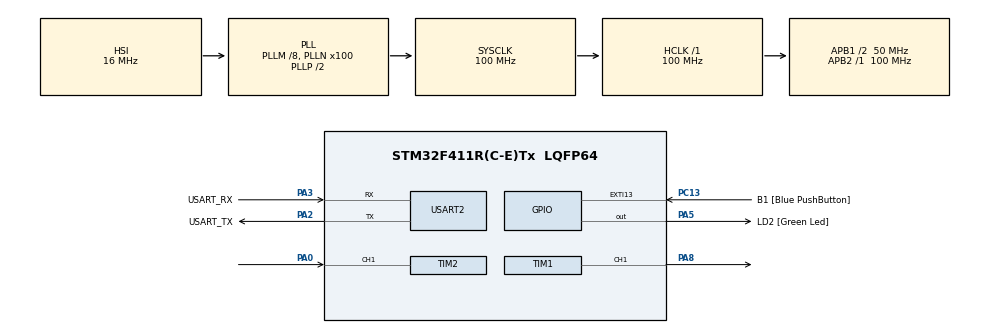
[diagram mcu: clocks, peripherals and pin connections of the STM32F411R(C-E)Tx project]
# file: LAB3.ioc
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Dma.Request0=TIM2_CH1
Dma.TIM2_CH1.0.Direction=DMA_PERIPH_TO_MEMORY
Dma.TIM2_CH1.0.FIFOMode=DMA_FIFOMODE_DISABLE
Dma.TIM2_CH1.0.Instance=DMA1_Stream5
Dma.TIM2_CH1.0.MemDataAlignment=DMA_MDATAALIGN_WORD
Dma.TIM2_CH1.0.MemInc=DMA_MINC_ENABLE
Dma.TIM2_CH1.0.Mode=DMA_CIRCULAR
Dma.TIM2_CH1.0.PeriphDataAlignment=DMA_PDATAALIGN_WORD
Dma.TIM2_CH1.0.PeriphInc=DMA_PINC_DISABLE
Dma.TIM2_CH1.0.Priority=DMA_PRIORITY_LOW
Mcu.Family=STM32F4
Mcu.Name=STM32F411R(C-E)Tx
Mcu.Package=LQFP64
NVIC.DMA1_Stream5_IRQn=true\:0\:0\:false\:false\:true\:false\:true\:true
NVIC.PriorityGroup=NVIC_PRIORITYGROUP_0
PA0-WKUP.Signal=S_TIM2_CH1_ETR
PA13.GPIO_Label=TMS
PA13.Mode=Serial_Wire
PA13.Signal=SYS_JTMS-SWDIO
PA14.GPIO_Label=TCK
PA14.Mode=Serial_Wire
PA14.Signal=SYS_JTCK-SWCLK
PA2.GPIO_Label=USART_TX
PA2.Mode=Asynchronous
PA2.Signal=USART2_TX
PA3.GPIO_Label=USART_RX
PA3.Mode=Asynchronous
PA3.Signal=USART2_RX
PA5.GPIO_Label=LD2 [Green Led]
PA5.Signal=GPIO_Output
PA8.Signal=S_TIM1_CH1
PB3.GPIO_Label=SWO
PB3.Signal=SYS_JTDO-SWO
PC13-ANTI_TAMP.GPIO_Label=B1 [Blue PushButton]
PC13-ANTI_TAMP.GPIO_ModeDefaultEXTI=GPIO_MODE_IT_FALLING
PC13-ANTI_TAMP.Signal=GPXTI13
PC14-OSC32_IN.Mode=LSE-External-Oscillator
PC14-OSC32_IN.Signal=RCC_OSC32_IN
PC15-OSC32_OUT.Mode=LSE-External-Oscillator
PC15-OSC32_OUT.Signal=RCC_OSC32_OUT
PH0\ -\ OSC_IN.Mode=HSE-External-Clock-Source
PH0\ -\ OSC_IN.Signal=RCC_OSC_IN
PH1\ -\ OSC_OUT.Mode=HSE-External-Clock-Source
PH1\ -\ OSC_OUT.Signal=RCC_OSC_OUT
ProjectManager.HeapSize=0x200
ProjectManager.StackSize=0x400
ProjectManager.TargetToolchain=STM32CubeIDE
RCC.48MHZClocksFreq_Value=50000000
RCC.AHBFreq_Value=100000000
RCC.APB1CLKDivider=RCC_HCLK_DIV2
RCC.APB1Freq_Value=50000000
RCC.APB1TimFreq_Value=100000000
RCC.APB2Freq_Value=100000000
RCC.APB2TimFreq_Value=100000000
RCC.CortexFreq_Value=100000000
RCC.FLatency-AdvancedSettings=FLASH_LATENCY_3
RCC.HCLKFreq_Value=100000000
RCC.HSE_VALUE=8000000
RCC.HSI_VALUE=16000000
RCC.PLLM=8
RCC.PLLN=100
RCC.SYSCLKFreq_VALUE=100000000
RCC.SYSCLKSource=RCC_SYSCLKSOURCE_PLLCLK
RCC.VCOOutputFreq_Value=200000000
SH.S_TIM1_CH1.0=TIM1_CH1,PWM Generation1 CH1
SH.S_TIM2_CH1_ETR.0=TIM2_CH1,Input_Capture1_from_TI1
TIM1.Channel-PWM\ Generation1\ CH1=TIM_CHANNEL_1
TIM1.Period=999
TIM1.Prescaler=99
TIM1.Pulse-PWM\ Generation1\ CH1=1000
TIM2.Channel-Input_Capture1_from_TI1=TIM_CHANNEL_1
TIM2.Prescaler=100
USART2.VirtualMode=VM_ASYNC
VP_TIM1_VS_ClockSourceINT.Mode=Internal
VP_TIM2_VS_ClockSourceINT.Mode=Internal
board=NUCLEO-F411RE

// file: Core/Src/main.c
/* USER CODE BEGIN Header */
/**
 ******************************************************************************
 * @file           : main.c
 * @brief          : Main program body
 ******************************************************************************
 * @attention
 *
 * Copyright (c) 2023 STMicroelectronics.
 * All rights reserved.
 *
 * This software is licensed under terms that can be found in the LICENSE file
 * in the root directory of this software component.
 * If no LICENSE file comes with this software, it is provided AS-IS.
 *
 ******************************************************************************
 */
/* USER CODE END Header */
#include "main.h"

/* USER CODE BEGIN Includes */
#define IC_BUFFER_SIZE 20
/* USER CODE END Includes */

TIM_HandleTypeDef htim1;
TIM_HandleTypeDef htim2;
DMA_HandleTypeDef hdma_tim2_ch1;

UART_HandleTypeDef huart2;

/* USER CODE BEGIN PV */
float MotorSetDuty = 100;
float MotorReadRPM;
uint8_t MotorSetRPM = 15;
uint32_t InputCaptureBuffer[IC_BUFFER_SIZE];
float avg;
float debug;
float KP=2.5;
uint8_t ch=0;
/* USER CODE END PV */

void SystemClock_Config(void);
static void MX_GPIO_Init(void);
static void MX_DMA_Init(void);
static void MX_USART2_UART_Init(void);
static void MX_TIM1_Init(void);
static void MX_TIM2_Init(void);
/* USER CODE BEGIN PFP */
float IC_Calc_Period();
float ToRPM(float sum);
float RTP_C(float IN_rpm);
void Control(uint8_t set,float error);
/* USER CODE END PFP */

int main(void)
{

  /* MCU Configuration--------------------------------------------------------*/

  /* Reset of all peripherals, Initializes the Flash interface and the Systick. */
  HAL_Init();

  /* Configure the system clock */
  SystemClock_Config();

  /* Initialize all configured peripherals */
  MX_GPIO_Init();
  MX_DMA_Init();
  MX_USART2_UART_Init();
  MX_TIM1_Init();
  MX_TIM2_Init();
  /* USER CODE BEGIN 2 */
	HAL_TIM_Base_Start(&htim1);
	HAL_TIM_PWM_Start(&htim1, TIM_CHANNEL_1);

	HAL_TIM_Base_Start(&htim2);
	HAL_TIM_IC_Start_DMA(&htim2, TIM_CHANNEL_1,InputCaptureBuffer, IC_BUFFER_SIZE);
  /* USER CODE END 2 */

  /* Infinite loop */
  /* USER CODE BEGIN WHILE */
	while (1) {
		static uint32_t timestamp = 0;
		if (HAL_GetTick() >= timestamp) {
			timestamp = HAL_GetTick()+5;
			avg = IC_Calc_Period();
			MotorReadRPM=ToRPM(avg);
			switch(ch){
			case 0:__HAL_TIM_SET_COMPARE(&htim1, TIM_CHANNEL_1,MotorSetDuty*10);
				break;
			case 1:	__HAL_TIM_SET_COMPARE(&htim1, TIM_CHANNEL_1,RTP_C(MotorReadRPM)+MotorSetDuty);
					debug=RTP_C(MotorSetRPM-MotorReadRPM);
					Control(MotorSetRPM,MotorReadRPM);
				break;
			}

			//__HAL_TIM_SET_COMPARE(&htim1, TIM_CHANNEL_1,500);

		}
    /* USER CODE END WHILE */

	}
}

void SystemClock_Config(void)
{
  RCC_OscInitTypeDef RCC_OscInitStruct = {0};
  RCC_ClkInitTypeDef RCC_ClkInitStruct = {0};

  /** Configure the main internal regulator output voltage
  */
  __HAL_RCC_PWR_CLK_ENABLE();
  __HAL_PWR_VOLTAGESCALING_CONFIG(PWR_REGULATOR_VOLTAGE_SCALE1);

  /** Initializes the RCC Oscillators according to the specified parameters
  * in the RCC_OscInitTypeDef structure.
  */
  RCC_OscInitStruct.OscillatorType = RCC_OSCILLATORTYPE_HSI;
  RCC_OscInitStruct.HSIState = RCC_HSI_ON;
  RCC_OscInitStruct.HSICalibrationValue = RCC_HSICALIBRATION_DEFAULT;
  RCC_OscInitStruct.PLL.PLLState = RCC_PLL_ON;
  RCC_OscInitStruct.PLL.PLLSource = RCC_PLLSOURCE_HSI;
  RCC_OscInitStruct.PLL.PLLM = 8;
  RCC_OscInitStruct.PLL.PLLN = 100;
  RCC_OscInitStruct.PLL.PLLP = RCC_PLLP_DIV2;
  RCC_OscInitStruct.PLL.PLLQ = 4;
  if (HAL_RCC_OscConfig(&RCC_OscInitStruct) != HAL_OK)
  {
    Error_Handler();
  }

  /** Initializes the CPU, AHB and APB buses clocks
  */
  RCC_ClkInitStruct.ClockType = RCC_CLOCKTYPE_HCLK|RCC_CLOCKTYPE_SYSCLK
                              |RCC_CLOCKTYPE_PCLK1|RCC_CLOCKTYPE_PCLK2;
  RCC_ClkInitStruct.SYSCLKSource = RCC_SYSCLKSOURCE_PLLCLK;
  RCC_ClkInitStruct.AHBCLKDivider = RCC_SYSCLK_DIV1;
  RCC_ClkInitStruct.APB1CLKDivider = RCC_HCLK_DIV2;
  RCC_ClkInitStruct.APB2CLKDivider = RCC_HCLK_DIV1;

  if (HAL_RCC_ClockConfig(&RCC_ClkInitStruct, FLASH_LATENCY_3) != HAL_OK)
  {
    Error_Handler();
  }
}

static void MX_TIM1_Init(void)
{

  TIM_ClockConfigTypeDef sClockSourceConfig = {0};
  TIM_MasterConfigTypeDef sMasterConfig = {0};
  TIM_OC_InitTypeDef sConfigOC = {0};
  TIM_BreakDeadTimeConfigTypeDef sBreakDeadTimeConfig = {0};

  htim1.Instance = TIM1;
  htim1.Init.Prescaler = 99;
  htim1.Init.CounterMode = TIM_COUNTERMODE_UP;
  htim1.Init.Period = 999;
  htim1.Init.ClockDivision = TIM_CLOCKDIVISION_DIV1;
  htim1.Init.RepetitionCounter = 0;
  htim1.Init.AutoReloadPreload = TIM_AUTORELOAD_PRELOAD_DISABLE;
  if (HAL_TIM_Base_Init(&htim1) != HAL_OK)
  {
    Error_Handler();
  }
  sClockSourceConfig.ClockSource = TIM_CLOCKSOURCE_INTERNAL;
  if (HAL_TIM_ConfigClockSource(&htim1, &sClockSourceConfig) != HAL_OK)
  {
    Error_Handler();
  }
  if (HAL_TIM_PWM_Init(&htim1) != HAL_OK)
  {
    Error_Handler();
  }
  sMasterConfig.MasterOutputTrigger = TIM_TRGO_RESET;
  sMasterConfig.MasterSlaveMode = TIM_MASTERSLAVEMODE_DISABLE;
  if (HAL_TIMEx_MasterConfigSynchronization(&htim1, &sMasterConfig) != HAL_OK)
  {
    Error_Handler();
  }
  sConfigOC.OCMode = TIM_OCMODE_PWM1;
  sConfigOC.Pulse = 1000;
  sConfigOC.OCPolarity = TIM_OCPOLARITY_HIGH;
  sConfigOC.OCNPolarity = TIM_OCNPOLARITY_HIGH;
  sConfigOC.OCFastMode = TIM_OCFAST_DISABLE;
  sConfigOC.OCIdleState = TIM_OCIDLESTATE_RESET;
  sConfigOC.OCNIdleState = TIM_OCNIDLESTATE_RESET;
  if (HAL_TIM_PWM_ConfigChannel(&htim1, &sConfigOC, TIM_CHANNEL_1) != HAL_OK)
  {
    Error_Handler();
  }
  sBreakDeadTimeConfig.OffStateRunMode = TIM_OSSR_DISABLE;
  sBreakDeadTimeConfig.OffStateIDLEMode = TIM_OSSI_DISABLE;
  sBreakDeadTimeConfig.LockLevel = TIM_LOCKLEVEL_OFF;
  sBreakDeadTimeConfig.DeadTime = 0;
  sBreakDeadTimeConfig.BreakState = TIM_BREAK_DISABLE;
  sBreakDeadTimeConfig.BreakPolarity = TIM_BREAKPOLARITY_HIGH;
  sBreakDeadTimeConfig.AutomaticOutput = TIM_AUTOMATICOUTPUT_DISABLE;
  if (HAL_TIMEx_ConfigBreakDeadTime(&htim1, &sBreakDeadTimeConfig) != HAL_OK)
  {
    Error_Handler();
  }
  HAL_TIM_MspPostInit(&htim1);

}

static void MX_TIM2_Init(void)
{

  TIM_ClockConfigTypeDef sClockSourceConfig = {0};
  TIM_MasterConfigTypeDef sMasterConfig = {0};
  TIM_IC_InitTypeDef sConfigIC = {0};

  htim2.Instance = TIM2;
  htim2.Init.Prescaler = 100;
  htim2.Init.CounterMode = TIM_COUNTERMODE_UP;
  htim2.Init.Period = 4294967295;
  htim2.Init.ClockDivision = TIM_CLOCKDIVISION_DIV1;
  htim2.Init.AutoReloadPreload = TIM_AUTORELOAD_PRELOAD_DISABLE;
  if (HAL_TIM_Base_Init(&htim2) != HAL_OK)
  {
    Error_Handler();
  }
  sClockSourceConfig.ClockSource = TIM_CLOCKSOURCE_INTERNAL;
  if (HAL_TIM_ConfigClockSource(&htim2, &sClockSourceConfig) != HAL_OK)
  {
    Error_Handler();
  }
  if (HAL_TIM_IC_Init(&htim2) != HAL_OK)
  {
    Error_Handler();
  }
  sMasterConfig.MasterOutputTrigger = TIM_TRGO_RESET;
  sMasterConfig.MasterSlaveMode = TIM_MASTERSLAVEMODE_DISABLE;
  if (HAL_TIMEx_MasterConfigSynchronization(&htim2, &sMasterConfig) != HAL_OK)
  {
    Error_Handler();
  }
  sConfigIC.ICPolarity = TIM_INPUTCHANNELPOLARITY_RISING;
  sConfigIC.ICSelection = TIM_ICSELECTION_DIRECTTI;
  sConfigIC.ICPrescaler = TIM_ICPSC_DIV1;
  sConfigIC.ICFilter = 0;
  if (HAL_TIM_IC_ConfigChannel(&htim2, &sConfigIC, TIM_CHANNEL_1) != HAL_OK)
  {
    Error_Handler();
  }

}

static void MX_USART2_UART_Init(void)
{

  huart2.Instance = USART2;
  huart2.Init.BaudRate = 115200;
  huart2.Init.WordLength = UART_WORDLENGTH_8B;
  huart2.Init.StopBits = UART_STOPBITS_1;
  huart2.Init.Parity = UART_PARITY_NONE;
  huart2.Init.Mode = UART_MODE_TX_RX;
  huart2.Init.HwFlowCtl = UART_HWCONTROL_NONE;
  huart2.Init.OverSampling = UART_OVERSAMPLING_16;
  if (HAL_UART_Init(&huart2) != HAL_OK)
  {
    Error_Handler();
  }

}

static void MX_DMA_Init(void)
{

  /* DMA controller clock enable */
  __HAL_RCC_DMA1_CLK_ENABLE();

  /* DMA interrupt init */
  /* DMA1_Stream5_IRQn interrupt configuration */
  HAL_NVIC_SetPriority(DMA1_Stream5_IRQn, 0, 0);
  HAL_NVIC_EnableIRQ(DMA1_Stream5_IRQn);

}

static void MX_GPIO_Init(void)
{
  GPIO_InitTypeDef GPIO_InitStruct = {0};

  /* GPIO Ports Clock Enable */
  __HAL_RCC_GPIOC_CLK_ENABLE();
  __HAL_RCC_GPIOH_CLK_ENABLE();
  __HAL_RCC_GPIOA_CLK_ENABLE();
  __HAL_RCC_GPIOB_CLK_ENABLE();

  /*Configure GPIO pin Output Level */
  HAL_GPIO_WritePin(LD2_GPIO_Port, LD2_Pin, GPIO_PIN_RESET);

  /*Configure GPIO pin : B1_Pin */
  GPIO_InitStruct.Pin = B1_Pin;
  GPIO_InitStruct.Mode = GPIO_MODE_IT_FALLING;
  GPIO_InitStruct.Pull = GPIO_NOPULL;
  HAL_GPIO_Init(B1_GPIO_Port, &GPIO_InitStruct);

  /*Configure GPIO pin : LD2_Pin */
  GPIO_InitStruct.Pin = LD2_Pin;
  GPIO_InitStruct.Mode = GPIO_MODE_OUTPUT_PP;
  GPIO_InitStruct.Pull = GPIO_NOPULL;
  GPIO_InitStruct.Speed = GPIO_SPEED_FREQ_LOW;
  HAL_GPIO_Init(LD2_GPIO_Port, &GPIO_InitStruct);

}

/* USER CODE BEGIN 4 */
float IC_Calc_Period() {
	uint32_t currentDMAPointer = IC_BUFFER_SIZE
			- __HAL_DMA_GET_COUNTER((htim2.hdma[1]));
	uint32_t lastVaildDMAPointer = (currentDMAPointer - 1 + IC_BUFFER_SIZE)
			% IC_BUFFER_SIZE;
	uint32_t i = (lastVaildDMAPointer + IC_BUFFER_SIZE - 12) % IC_BUFFER_SIZE;
	int32_t sumdiff = 0;
	while (i != lastVaildDMAPointer) {
		uint32_t first = InputCaptureBuffer[i];
		uint32_t next = InputCaptureBuffer[(i + 1) % IC_BUFFER_SIZE];
		sumdiff += next - first;
		i = (i + 1) % IC_BUFFER_SIZE;
	}
	return sumdiff;
}
float ToRPM(float sum){
	sum=(60000000/(sum*64));
	//60000000
	return sum;
}
float RTP_C(float IN_rpm){
	return (IN_rpm/22.0)*1000.0;
}
void Control(uint8_t set,float error){
	MotorSetDuty=(RTP_C(MotorSetRPM-MotorReadRPM))*KP;
}
/* USER CODE END 4 */

void Error_Handler(void)
{
	__disable_irq();
	while (1) {
	}
}
